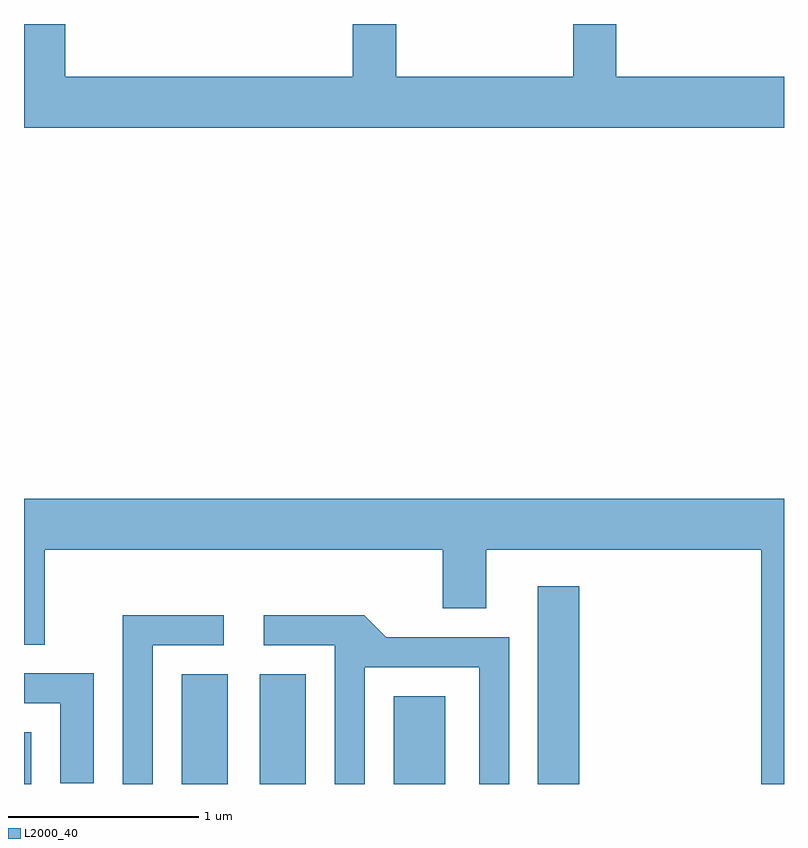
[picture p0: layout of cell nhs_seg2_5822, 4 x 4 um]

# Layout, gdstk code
import gdstk
lib = gdstk.Library(unit=1e-6, precision=1e-09)
def R(c, l, rs):  # rectangles x0, y0, x1, y1
    for r in rs: c.add(gdstk.rectangle(r[:2], r[2:], *l))
def P(c, l, *ps):  # polygons
    for p in ps: c.add(gdstk.Polygon(p, *l))
L2000_40 = (2000, 40)

nhs_seg2_5822 = lib.new_cell('nhs_seg2_5822')
R(nhs_seg2_5822, L2000_40, [(357.611,993.802,357.649,994.074), (358.441,993.802,358.684,994.379), (358.851,993.802,359.094,994.379), (359.556,993.802,359.829,994.264), (360.316,993.802,360.534,994.844)])
P(nhs_seg2_5822, L2000_40, [(361.611,997.524),(360.729,997.524),(360.729,997.802),(360.501,997.802),(360.501,997.524),(359.569,997.524),(359.569,997.802),(359.341,997.802),(359.341,997.524),(357.829,997.524),(357.829,997.802),(357.611,997.802),(357.611,997.256),(361.611,997.256)],
  [(361.611,995.304),(357.611,995.304),(357.611,994.536),(357.719,994.536),(357.719,995.036),(359.816,995.036),(359.816,994.726),(360.044,994.726),(360.044,995.036),(361.491,995.036),(361.491,993.802),(361.611,993.802)],
  [(358.289,994.531),(358.663,994.531),(358.663,994.689),(358.131,994.689),(358.131,993.802),(358.289,993.802)],
  [(359.404,994.416),(360.006,994.416),(360.006,993.802),(360.164,993.802),(360.164,994.574),(359.517,994.574),(359.402,994.689),(358.873,994.689),(358.873,994.531),(359.246,994.531),(359.246,993.802),(359.404,993.802)],
  [(357.979,994.384),(357.611,994.384),(357.611,994.226),(357.801,994.226),(357.801,993.806),(357.979,993.806)])

lib.write_gds('nhs_seg2_5822.gds')
